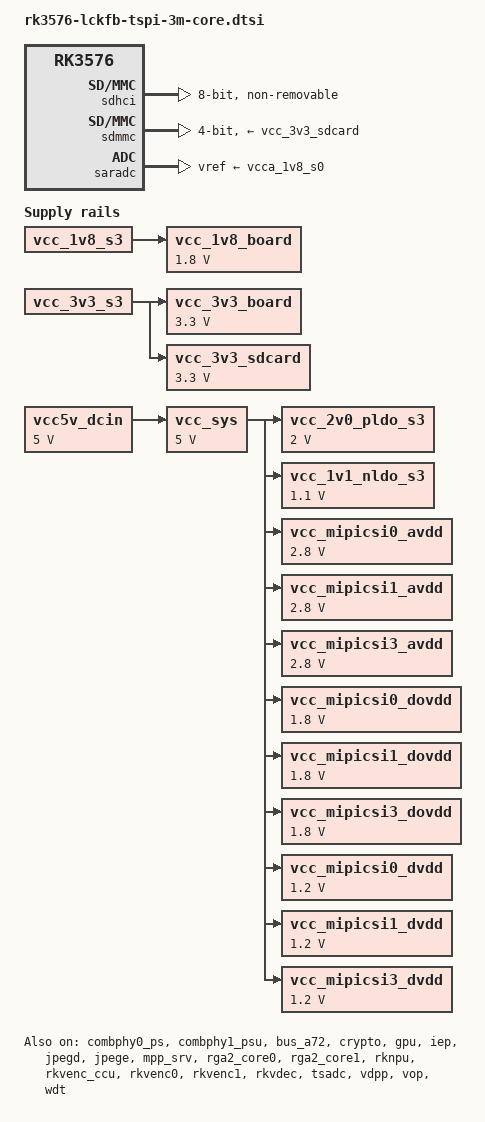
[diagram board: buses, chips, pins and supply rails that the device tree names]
/********************************************************************
 * SPDX-License-Identifier: (GPL-2.0+ OR MIT)
 * 
 * Copyright (c) 2023 Rockchip Electronics Co., Ltd.
 * Copyright (c) 2026 LCKFB <lckfb@sz-jlc.com>
 *********************************************************************
 * Wiki-(Chinese)：https://wiki.lckfb.com/
 * Wiki-(English)：https://wiki.lckfb.com/en/
 *********************************************************************/

/*-----------------------------------------------------------
 * Mainboard Power Management Nodes
 * Includes main DC input, system power, multiple LDO/PLDO/onboard power supplies
 *----------------------------------------------------------*/
/ {
	vcc5v_dcin: vcc5v-dcin {
		compatible = "regulator-fixed";
		regulator-name = "vcc5v_dcin";
		regulator-always-on;
		regulator-boot-on;
		regulator-min-microvolt = <5000000>;
		regulator-max-microvolt = <5000000>;
	};

	vcc_sys: vcc5v0-sys {
		compatible = "regulator-fixed";
		regulator-name = "vcc_sys";
		regulator-always-on;
		regulator-boot-on;
		regulator-min-microvolt = <5000000>;
		regulator-max-microvolt = <5000000>;
		vin-supply = <&vcc5v_dcin>;
	};

	vcc_2v0_pldo_s3: vcc-2v0-pldo-s3 {
		compatible = "regulator-fixed";
		regulator-name = "vcc_2v0_pldo_s3";
		regulator-boot-on;
		regulator-always-on;
		regulator-min-microvolt = <2000000>;
		regulator-max-microvolt = <2000000>;
		vin-supply = <&vcc_sys>;
	};

	vcc_1v1_nldo_s3: vcc-1v1-nldo-s3 {
		compatible = "regulator-fixed";
		regulator-name = "vcc_1v1_nldo_s3";
		regulator-boot-on;
		regulator-always-on;
		regulator-min-microvolt = <1100000>;
		regulator-max-microvolt = <1100000>;
		vin-supply = <&vcc_sys>;
	};

	/* MIPI-CSI AVDD 2.8V */ 
	vcc_mipicsi0_avdd: vcc-mipicsi0-avdd {
		compatible = "regulator-fixed";
		regulator-name = "vcc_mipicsi0_avdd";
		regulator-min-microvolt = <2800000>;
		regulator-max-microvolt = <2800000>;
		regulator-boot-on;
		regulator-always-on;
		vin-supply = <&vcc_sys>;
	};
	vcc_mipicsi1_avdd: vcc-mipicsi1-avdd {
		compatible = "regulator-fixed";
		regulator-name = "vcc_mipicsi1_avdd";
		regulator-min-microvolt = <2800000>;
		regulator-max-microvolt = <2800000>;
		regulator-boot-on;
		regulator-always-on;
		vin-supply = <&vcc_sys>;
	};
	vcc_mipicsi3_avdd: vcc-mipicsi3-avdd {
		compatible = "regulator-fixed";
		regulator-name = "vcc_mipicsi3_avdd";
		regulator-min-microvolt = <2800000>;
		regulator-max-microvolt = <2800000>;
		regulator-boot-on;
		regulator-always-on;
		vin-supply = <&vcc_sys>;
	};

	/* MIPI-CSI DOVDD 1.8V */
	vcc_mipicsi0_dovdd: vcc-mipicsi0-dovdd {
		compatible = "regulator-fixed";
		regulator-name = "vcc_mipicsi0_dovdd";
		regulator-min-microvolt = <1800000>;
		regulator-max-microvolt = <1800000>;
		regulator-boot-on;
		regulator-always-on;
		vin-supply = <&vcc_sys>;
	};
	vcc_mipicsi1_dovdd: vcc-mipicsi1-dovdd {
		compatible = "regulator-fixed";
		regulator-name = "vcc_mipicsi1_dovdd";
		regulator-min-microvolt = <1800000>;
		regulator-max-microvolt = <1800000>;
		regulator-boot-on;
		regulator-always-on;
		vin-supply = <&vcc_sys>;
	};
	vcc_mipicsi3_dovdd: vcc-mipicsi3-dovdd {
		compatible = "regulator-fixed";
		regulator-name = "vcc_mipicsi3_dovdd";
		regulator-min-microvolt = <1800000>;
		regulator-max-microvolt = <1800000>;
		regulator-boot-on;
		regulator-always-on;
		vin-supply = <&vcc_sys>;
	};

	/* MIPI-CSI DVDD 1.2V */
	vcc_mipicsi0_dvdd: vcc-mipicsi0-dvdd {
		compatible = "regulator-fixed";
		regulator-name = "vcc_mipicsi0_dvdd";
		regulator-min-microvolt = <1200000>;
		regulator-max-microvolt = <1200000>;
		regulator-boot-on;
		regulator-always-on;
		vin-supply = <&vcc_sys>;
	};
	vcc_mipicsi1_dvdd: vcc-mipicsi1-dvdd {
		compatible = "regulator-fixed";
		regulator-name = "vcc_mipicsi1_dvdd";
		regulator-min-microvolt = <1200000>;
		regulator-max-microvolt = <1200000>;
		regulator-boot-on;
		regulator-always-on;
		vin-supply = <&vcc_sys>;
	};
	vcc_mipicsi3_dvdd: vcc-mipicsi3-dvdd {
		compatible = "regulator-fixed";
		regulator-name = "vcc_mipicsi3_dvdd";
		regulator-min-microvolt = <1200000>;
		regulator-max-microvolt = <1200000>;
		regulator-boot-on;
		regulator-always-on;
		vin-supply = <&vcc_sys>;
	};

	vcc_1v2_mipi_csi: vcc-1v2-mipi-csi {
		status = "disabled";
		compatible = "regulator-fixed";
		regulator-name = "vcc_1v2_mipi_csi";
		regulator-min-microvolt = <1200000>;
		regulator-max-microvolt = <1200000>;
		enable-active-high;
		regulator-always-on;
		gpios = <&gpio0 RK_PC4 GPIO_ACTIVE_HIGH>;
		vin-supply = <&vcc_sys>;
	};

	vcc_1v8_mipi_csi: vcc-1v8-mipi-csi {
		status = "disabled";
		compatible = "regulator-fixed";
		regulator-name = "vcc_1v8_mipi_csi";
		regulator-min-microvolt = <1800000>;
		regulator-max-microvolt = <1800000>;
		enable-active-high;
		regulator-always-on;
		gpios = <&gpio0 RK_PC4 GPIO_ACTIVE_HIGH>;
		vin-supply = <&vcc_sys>;
	};

	vcc_2v8_mipi_csi: vcc-2v8-mipi-csi {
		status = "disabled";
		compatible = "regulator-fixed";
		regulator-name = "vcc_2v8_mipi_csi";
		regulator-min-microvolt = <2800000>;
		regulator-max-microvolt = <2800000>;
		enable-active-high;
		regulator-always-on;
		gpios = <&gpio0 RK_PC4 GPIO_ACTIVE_HIGH>;
		vin-supply = <&vcc_sys>;
	};

	vcc_1v8_board: vcc-1v8-board {
		compatible = "regulator-fixed";
		regulator-name = "vcc_1v8_board";
		regulator-boot-on;
		regulator-always-on;
		regulator-min-microvolt = <1800000>;
		regulator-max-microvolt = <1800000>;
		vin-supply = <&vcc_1v8_s3>;
	};

	vcc_3v3_board: vcc-3v3-board {
		compatible = "regulator-fixed";
		regulator-name = "vcc_3v3_board";
		regulator-boot-on;
		regulator-always-on;
		regulator-min-microvolt = <3300000>;
		regulator-max-microvolt = <3300000>;
		vin-supply = <&vcc_3v3_s3>;
	};

	vcc_3v3_sdcard: vcc-3v3-sd-s3 {
		compatible = "regulator-fixed";
		regulator-name = "vcc_3v3_sd_s3";
		regulator-always-on;
		regulator-boot-on;
		regulator-min-microvolt = <3300000>;
		regulator-max-microvolt = <3300000>;
		vin-supply = <&vcc_3v3_s3>;
	};

	test-power {
		status = "okay";
	};
};

/*-----------------------------------------------------------
 * EMMC/SD Storage Interface Nodes
 * sdhci: Main EMMC controller (8-bit bus, non-removable)
 * sdmmc: Onboard SD interface (4-bit bus, supports SD card hot-plug)
 *----------------------------------------------------------*/
&sdhci {
	bus-width = <8>;
	no-sdio;
	no-sd;
	non-removable;
	max-frequency = <200000000>;
	mmc-hs400-1_8v;
	mmc-hs400-enhanced-strobe;
	full-pwr-cycle-in-suspend;
	status = "okay";
};

&sdmmc {
	max-frequency = <200000000>;
	supports-emmc;
	no-sdio;
	no-mmc;
	bus-width = <4>;
	cap-mmc-highspeed;
	cap-sd-highspeed;
	disable-wp;
	sd-uhs-sdr104;
	vmmc-supply = <&vcc_3v3_sdcard>;
	vqmmc-supply = <&vccio_sd_s0>;
	pinctrl-names = "default";
	pinctrl-0 = <&sdmmc0_clk &sdmmc0_cmd &sdmmc0_det &sdmmc0_bus4>;
	status = "okay";
};

/*-----------------------------------------------------------
 * High-Speed Combo PHY Nodes
 * Combo PHY0/Combo PHY1
 * Used for PCIE/SATA/USB3 high-speed physical layer transceiver
 *----------------------------------------------------------*/
/* PCIE0/SATA0 Combo PHY0 */
&combphy0_ps {
	status = "okay";
};

/* PCIE1/SATA1/USB3_OTG1 Combo PHY1 */
&combphy1_psu {
	status = "okay";
};

/*-----------------------------------------------------------
 * General Configuration
 *----------------------------------------------------------*/
&bus_a72 {
	bus-supply = <&vdd_logic_s0>;
	pvtm-supply = <&vdd_logic_s0>;
	status = "okay";
};

&cpu_l0 {
	cpu-supply = <&vdd_cpu_lit_s0>;
};

&cpu_b0 {
	cpu-supply = <&vdd_cpu_big_s0>;
};

&crypto {
	status = "okay";
};

&gpu {
	mali-supply = <&vdd_gpu_s0>;
	status = "okay";
};

&iep {
	status = "okay";
};

&iep_mmu {
	status = "okay";
};

&jpegd {
	status = "okay";
};

&jpege {
	status = "okay";
};

&jpeg_mmu {
	status = "okay";
};

&mpp_srv {
	status = "okay";
};

&rga2_core0 {
	status = "okay";
};

&rga2_core0_mmu {
	status = "okay";
};

&rga2_core1 {
	status = "okay";
};

&rga2_core1_mmu {
	status = "okay";
};

&rknpu {
	rknpu-supply = <&vdd_npu_s0>;
	status = "okay";
};

&rknpu_mmu {
	status = "okay";
};

&rkvenc_ccu {
	status = "okay";
};

&rkvenc0 {
	status = "okay";
};

&rkvenc0_mmu {
	status = "okay";
};

&rkvenc1 {
	status = "okay";
};

&rkvenc1_mmu {
	status = "okay";
};

&rkvdec {
	status = "okay";
};

&rkvdec_mmu {
	status = "okay";
};

&tsadc {
	status = "okay";
};

&saradc {
	status = "okay";
	vref-supply = <&vcca_1v8_s0>;
};

/*-----------------------------------------------------------
 * Display and Video Output Related Nodes
 * vdpp: Video Display Pre-Processing Module
 * vop: Video Output Processor, responsible for main display pipeline
 * vop_mmu: VOP dedicated MMU
 *----------------------------------------------------------*/
&vdpp {
	status = "okay";
};

&vop {
	status = "okay";
	vop-supply = <&vdd_logic_s0>;
};

&vp2 {
	assigned-clocks = <&cru DCLK_VP2_SRC>;
	assigned-clock-parents = <&cru PLL_VPLL>;
};

&vop_mmu {
	status = "okay";
};

/*-----------------------------------------------------------
 * Watchdog Timer Node
 * wdt: System watchdog, ensures system reliability
 *----------------------------------------------------------*/
&wdt {
	status = "okay";
};


